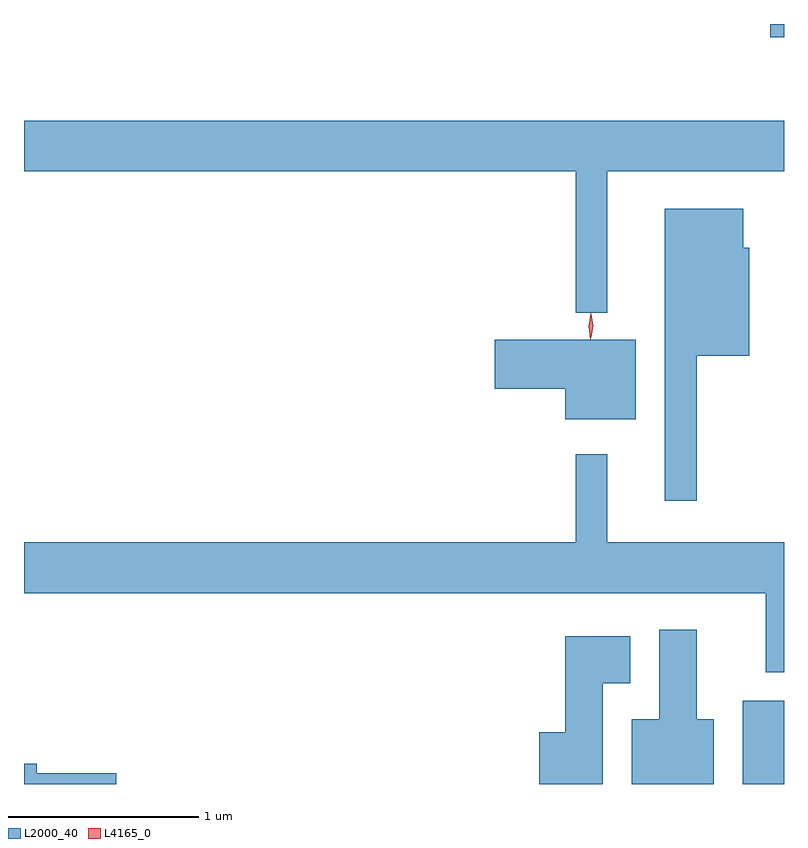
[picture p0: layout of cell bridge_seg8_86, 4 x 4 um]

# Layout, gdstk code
import gdstk
lib = gdstk.Library(unit=1e-6, precision=1e-09)
def R(c, l, rs):  # rectangles x0, y0, x1, y1
    for r in rs: c.add(gdstk.rectangle(r[:2], r[2:], *l))
def P(c, l, *ps):  # polygons
    for p in ps: c.add(gdstk.Polygon(p, *l))
L2000_40 = (2000, 40)
L4165_0 = (4165, 0)

bridge_seg8_86 = lib.new_cell('bridge_seg8_86')
R(bridge_seg8_86, L2000_40, [(1608.171,1853.172,1608.388,1853.609), (1608.316,1857.101,1608.388,1857.172)])
P(bridge_seg8_86, L2000_40, [(1607.459,1856.396),(1608.388,1856.396),(1608.388,1856.664),(1604.388,1856.664),(1604.388,1856.396),(1607.291,1856.396),(1607.291,1855.653),(1607.459,1855.653)],
  [(1607.929,1855.426),(1608.204,1855.426),(1608.204,1855.994),(1608.174,1855.994),(1608.174,1856.199),(1607.761,1856.199),(1607.761,1854.663),(1607.929,1854.663)],
  [(1607.609,1855.509),(1606.866,1855.509),(1606.866,1855.251),(1607.236,1855.251),(1607.236,1855.091),(1607.609,1855.091)],
  [(1608.388,1854.444),(1607.459,1854.444),(1607.459,1854.908),(1607.291,1854.908),(1607.291,1854.444),(1604.388,1854.444),(1604.388,1854.176),(1608.291,1854.176),(1608.291,1853.761),(1608.388,1853.761)],
  [(1608.019,1853.514),(1607.929,1853.514),(1607.929,1853.984),(1607.731,1853.984),(1607.731,1853.514),(1607.586,1853.514),(1607.586,1853.172),(1608.019,1853.172)],
  [(1607.434,1853.701),(1607.579,1853.701),(1607.579,1853.949),(1607.236,1853.949),(1607.236,1853.444),(1607.101,1853.444),(1607.101,1853.172),(1607.434,1853.172)],
  [(1604.874,1853.229),(1604.454,1853.229),(1604.454,1853.279),(1604.388,1853.279),(1604.388,1853.172),(1604.874,1853.172)])
P(bridge_seg8_86, L4165_0, [(1607.372,1855.52),(1607.363,1855.583),(1607.372,1855.646),(1607.373,1855.647),(1607.373,1855.646),(1607.383,1855.583),(1607.373,1855.52),(1607.373,1855.52)],
  [(1607.369,1855.514),(1607.369,1855.514),(1607.36,1855.582),(1607.37,1855.65),(1607.371,1855.65),(1607.371,1855.65),(1607.38,1855.582),(1607.37,1855.514)])

lib.write_gds('bridge_seg8_86.gds')
